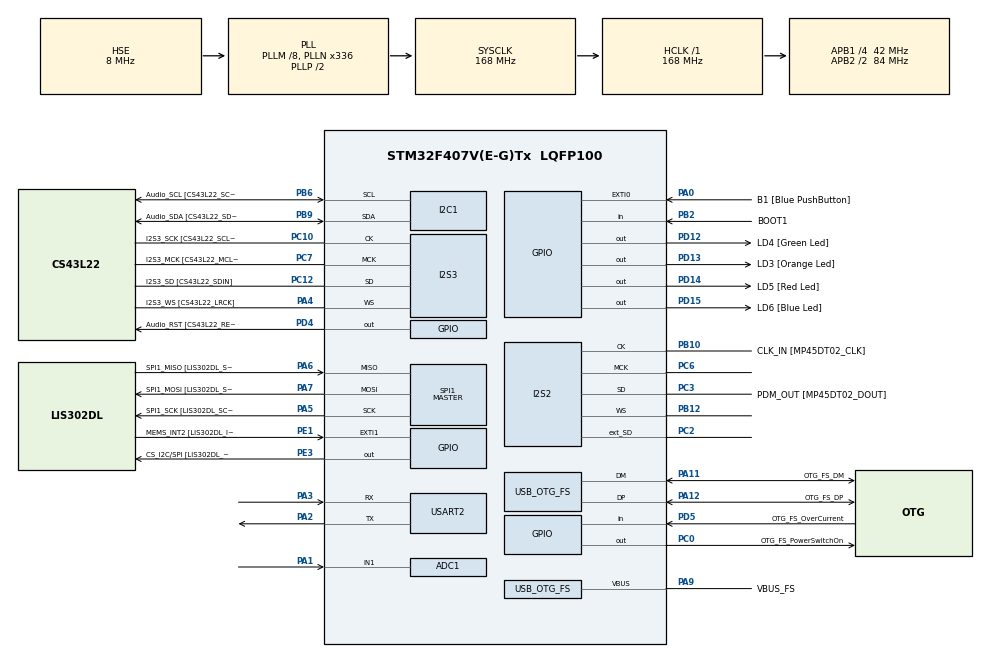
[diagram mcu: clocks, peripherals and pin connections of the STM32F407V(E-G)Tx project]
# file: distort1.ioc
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PA11.GPIO_Speed=GPIO_SPEED_FREQ_LOW
PD12.GPIO_Label=LD4 [Green Led]
PH0-OSC_IN.Signal=RCC_OSC_IN
PC10.GPIO_PuPd=GPIO_NOPULL
SPI1.VirtualType=VM_MASTER
PB10.GPIO_PuPd=GPIO_NOPULL
PB10.Mode=Full_Duplex_Master
PA10.GPIO_PuPd=GPIO_NOPULL
PC12.Signal=I2S3_SD
PA14.GPIO_Label=SWCLK
PA6.GPIO_Label=SPI1_MISO [LIS302DL_SDO]
PB6.GPIO_Label=Audio_SCL [CS43L22_SCL]
PC15-OSC32_OUT.GPIO_Label=PC15-OSC32_OUT
PC3.GPIO_Speed=GPIO_SPEED_FREQ_LOW
RCC.SYSCLKSource=RCC_SYSCLKSOURCE_PLLCLK
PA6.GPIO_Mode=GPIO_MODE_AF_PP
PD14.GPIO_Speed=GPIO_SPEED_FREQ_LOW
Dma.I2S2_EXT_RX.0.Mode=DMA_CIRCULAR
PA4.Mode=Half_Duplex_Master
SPI1.Direction=SPI_DIRECTION_2LINES
I2S3.AudioFreq-Half_Duplex_Master=I2S_AUDIOFREQ_96K
PD4.Signal=GPIO_Output
RCC.APB2TimFreq_Value=168000000
PB6.Signal=I2C1_SCL
PC7.Signal=I2S3_MCK
PB6.Mode=I2C
PC3.Signal=I2S2_SD
PE1.Signal=GPXTI1
USB_OTG_FS.phy_itface=HCD_PHY_EMBEDDED
PB2.Signal=GPIO_Input
I2S3.ErrorAudioFreq=-2.34 %
Dma.I2S2_EXT_RX.0.FIFOMode=DMA_FIFOMODE_DISABLE
PA5.GPIO_PuPd=GPIO_NOPULL
I2S3.ErrorAudioFreq-Half_Duplex_Master=0.8 %
PD5.GPIO_Mode=GPIO_MODE_INPUT
PD14.GPIO_PuPd=GPIO_NOPULL
Dma.I2S2_EXT_RX.0.PeriphDataAlignment=DMA_PDATAALIGN_HALFWORD
PB2.GPIO_PuPd=GPIO_NOPULL
ADC1.SamplingTime-0\#ChannelRegularConversion=ADC_SAMPLETIME_3CYCLES
SPI1.CalculateBaudRate-Full_Duplex_Master=42.0 MBits/s
Dma.SPI2_TX.1.FIFOMode=DMA_FIFOMODE_DISABLE
Mcu.Package=LQFP100
PB9.Signal=I2C1_SDA
Dma.I2S2_EXT_RX.0.MemDataAlignment=DMA_MDATAALIGN_HALFWORD
PD12.Signal=GPIO_Output
PA10.Signal=USB_OTG_FS_ID
PB9.GPIO_PuPd=GPIO_NOPULL
Dma.SPI2_TX.1.Instance=DMA1_Stream4
RCC.APB2CLKDivider=RCC_HCLK_DIV2
RCC.APB1TimFreq_Value=84000000
PC12.GPIO_PuPd=GPIO_NOPULL
PA6.GPIO_Speed=GPIO_SPEED_FREQ_LOW
PA12.GPIO_PuPd=GPIO_NOPULL
Dma.I2S2_EXT_RX.0.Instance=DMA1_Stream3
PA4.GPIO_Label=I2S3_WS [CS43L22_LRCK]
PD15.Signal=GPIO_Output
PC0.PinState=GPIO_PIN_SET
PA5.Mode=Full_Duplex_Master
Dma.SPI2_TX.1.MemInc=DMA_MINC_ENABLE
I2S2.AudioFreq=I2S_AUDIOFREQ_48K
I2S3.FullDuplexMode=I2S_FULLDUPLEXMODE_DISABLE
ADC1.Rank-0\#ChannelRegularConversion=1
PA9.GPIO_Label=VBUS_FS
PB6.GPIO_PuPd=GPIO_NOPULL
PC6.Signal=I2S2_MCK
PC2.Signal=I2S2_ext_SD
PA11.GPIO_Label=OTG_FS_DM
PE1.GPIO_PuPd=GPIO_NOPULL
PC0.Signal=GPIO_Output
RCC.APB1CLKDivider=RCC_HCLK_DIV4
PC14-OSC32_IN.Signal=RCC_OSC32_IN
PA0-WKUP.GPIO_ModeDefaultEXTI=GPIO_MODE_EVT_RISING
PA0-WKUP.GPIO_Label=B1 [Blue PushButton]
PA0-WKUP.Signal=GPXTI0
USB_HOST0.BSP.STBoard=false
PA3.Mode=Asynchronous
PC10.GPIO_Mode=GPIO_MODE_AF_PP
PB10.GPIO_Mode=GPIO_MODE_AF_PP
PC6.Mode=Master_Clock_Activated
PA9.Signal=USB_OTG_FS_VBUS
I2S2.VirtualMode=I2S_MODE_MASTER
I2S3.VirtualMode=I2S_MODE_MASTER
PC7.GPIO_PuPd=GPIO_NOPULL
PB10.Signal=I2S2_CK
Dma.I2S2_EXT_RX.0.Priority=DMA_PRIORITY_LOW
PA5.Signal=SPI1_SCK
PC12.Mode=Half_Duplex_Master
PE1.GPIO_Label=MEMS_INT2 [LIS302DL_INT2]
USB_HOST.VirtualModeFS=Cdc
PA7.GPIO_Speed=GPIO_SPEED_FREQ_LOW
PB2.GPIO_Mode=GPIO_MODE_INPUT
Dma.SPI2_TX.1.PeriphDataAlignment=DMA_PDATAALIGN_HALFWORD
SPI1.Mode=SPI_MODE_MASTER
Dma.SPI2_TX.1.Priority=DMA_PRIORITY_LOW
PD4.GPIO_Speed=GPIO_SPEED_FREQ_LOW
PE3.GPIO_PuPd=GPIO_NOPULL
PH1-OSC_OUT.GPIO_Label=PH1-OSC_OUT
PA13.Mode=Serial_Wire
I2S2.FullDuplexMode=I2S_FULLDUPLEXMODE_ENABLE
PC7.GPIO_Label=I2S3_MCK [CS43L22_MCLK]
PA4.Signal=I2S3_WS
PC12.GPIO_Mode=GPIO_MODE_AF_PP
ADC1.master=1
PA5.GPIO_Label=SPI1_SCK [LIS302DL_SCL/SPC]
PE3.GPIO_Speed=GPIO_SPEED_FREQ_LOW
PC12.GPIO_Label=I2S3_SD [CS43L22_SDIN]
PA11.Signal=USB_OTG_FS_DM
ProjectManager.HeapSize=0x200
NVIC.PriorityGroup=NVIC_PRIORITYGROUP_0
PE3.Signal=GPIO_Output
PC3.GPIO_Label=PDM_OUT [MP45DT02_DOUT]
PA0-WKUP.GPIO_PuPd=GPIO_NOPULL
I2S3.Instance=SPI$Index
PB6.GPIO_Speed=GPIO_SPEED_FREQ_LOW
SPI1.BaudRatePrescaler-Full_Duplex_Master=SPI_BAUDRATEPRESCALER_2
USB_HOST0.BSP.mode=Output
Dma.SPI2_TX.1.MemDataAlignment=DMA_MDATAALIGN_HALFWORD
Mcu.Family=STM32F4
PC3.Mode=Full_Duplex_Master
PC3.GPIO_Mode=GPIO_MODE_AF_PP
PA6.Mode=Full_Duplex_Master
RCC.CortexFreq_Value=168000000
PB10.GPIO_Speed=GPIO_SPEED_FREQ_LOW
PB6.GPIO_Mode=GPIO_MODE_AF_OD
PD15.GPIO_Speed=GPIO_SPEED_FREQ_LOW
PC10.Signal=I2S3_CK
PA7.GPIO_Mode=GPIO_MODE_AF_PP
Dma.SPI2_TX.1.PeriphInc=DMA_PINC_DISABLE
PC0.GPIO_Label=OTG_FS_PowerSwitchOn
PA11.Mode=Host_Only
PC10.GPIO_Speed=GPIO_SPEED_FREQ_LOW
PA11.GPIO_PuPd=GPIO_NOPULL
NVIC.DMA1_Stream4_IRQn=true\:0\:0\:false\:false\:true\:false\:true
ProjectManager.StackSize=0x400
SPI1.Mode-Full_Duplex_Master=SPI_MODE_MASTER
PD13.Signal=GPIO_Output
NVIC.ADC_IRQn=true\:0\:0\:false\:false\:true\:true\:true
PA12.Signal=USB_OTG_FS_DP
RCC.HCLKFreq_Value=168000000
Dma.I2S2_EXT_RX.0.PeriphInc=DMA_PINC_DISABLE
USB_HOST0.BSP.ip=GPIO
RCC.AHBFreq_Value=168000000
PH0-OSC_IN.Mode=HSE-External-Oscillator
PH0-OSC_IN.GPIO_Label=PH0-OSC_IN
PA9.GPIO_Mode=GPIO_MODE_INPUT
ADC1.Channel-0\#ChannelRegularConversion=ADC_CHANNEL_1
RCC.HSE_VALUE=8000000
PA4.GPIO_PuPd=GPIO_NOPULL
PA4.GPIO_Speed=GPIO_SPEED_FREQ_LOW
PA6.GPIO_PuPd=GPIO_NOPULL
PC14-OSC32_IN.Mode=LSE-External-Oscillator
PA14.Mode=Serial_Wire
PA10.GPIO_Label=OTG_FS_ID
PC7.GPIO_Mode=GPIO_MODE_AF_PP
I2S2.DataFormat=I2S_DATAFORMAT_24B
USB_HOST0.BSP.i2creg=0
PH1-OSC_OUT.Mode=HSE-External-Oscillator
USB_HOST0.BSP.i2caddr=0
PD13.GPIO_Label=LD3 [Orange Led]
PA6.Signal=SPI1_MISO
PB12.Mode=Full_Duplex_Master
Dma.SPI2_TX.1.Mode=DMA_CIRCULAR
USART2.VirtualMode=VM_ASYNC
USB_HOST.USBH_HandleTypeDef-CDC_FS=hUsbHostFS
PD5.GPIO_Label=OTG_FS_OverCurrent
NVIC.OTG_FS_IRQn=true\:0\:0\:false\:false\:true\:true\:true
PD15.GPIO_PuPd=GPIO_NOPULL
USB_OTG_FS.VirtualMode=Host_Only
PA10.GPIO_Speed=GPIO_SPEED_FREQ_LOW
USB_HOST0.BSP.name=Drive_VBUS_FS
SH.ADCx_IN1.0=ADC1_IN1,IN1
PB9.GPIO_Speed=GPIO_SPEED_FREQ_LOW
Dma.Request1=SPI2_TX
PC14-OSC32_IN.GPIO_Label=PC14-OSC32_IN
PC0.GPIO_PuPd=GPIO_NOPULL
Dma.Request0=I2S2_EXT_RX
PA12.GPIO_Speed=GPIO_SPEED_FREQ_LOW
PA3.Signal=USART2_RX
PB3.GPIO_Label=SWO
PC15-OSC32_OUT.Mode=LSE-External-Oscillator
PD12.GPIO_Speed=GPIO_SPEED_FREQ_LOW
PD15.GPIO_Label=LD6 [Blue Led]
PA7.Mode=Full_Duplex_Master
I2S2.Instance=SPI$Index
PB9.GPIO_Label=Audio_SDA [CS43L22_SDA]
PC10.GPIO_Label=I2S3_SCK [CS43L22_SCLK]
USB_HOST0.BSP.solution=PC0
PC10.Mode=Half_Duplex_Master
USB_HOST.BSP.number=1
PC2.Mode=Full_Duplex_Master
PD5.Signal=GPIO_Input
PE1.GPIO_ModeDefaultEXTI=GPIO_MODE_EVT_RISING
PA9.GPIO_PuPd=GPIO_NOPULL
PA12.GPIO_Label=OTG_FS_DP
PA10.GPIO_Mode=GPIO_MODE_AF_PP
PA13.Signal=SYS_JTMS-SWDIO
PD4.GPIO_PuPd=GPIO_NOPULL
PA9.Mode=Activate_VBUS
PC0.GPIO_Speed=GPIO_SPEED_FREQ_LOW
I2S3.RealAudioFreq-Half_Duplex_Master=96.774 KHz
ProjectManager.TargetToolchain=STM32CubeIDE
PB10.GPIO_Label=CLK_IN [MP45DT02_CLK]
PB9.Mode=I2C
PC15-OSC32_OUT.Signal=RCC_OSC32_OUT
PA1.Signal=ADCx_IN1
PA7.GPIO_PuPd=GPIO_NOPULL
Dma.I2S2_EXT_RX.0.MemInc=DMA_MINC_ENABLE
board=STM32F407G-DISC1
PD13.GPIO_Speed=GPIO_SPEED_FREQ_LOW
PC7.GPIO_Speed=GPIO_SPEED_FREQ_LOW
Dma.SPI2_TX.1.Direction=DMA_MEMORY_TO_PERIPH
RCC.VCOOutputFreq_Value=336000000
Dma.I2S2_EXT_RX.0.Direction=DMA_PERIPH_TO_MEMORY
PB9.GPIO_Mode=GPIO_MODE_AF_OD
PA12.GPIO_Mode=GPIO_MODE_AF_PP
PA4.GPIO_Mode=GPIO_MODE_AF_PP
RCC.APB2Freq_Value=84000000
USB_HOST0.BSP.api=Unknown
PD4.GPIO_Label=Audio_RST [CS43L22_RESET]
PH1-OSC_OUT.Signal=RCC_OSC_OUT
PD13.GPIO_PuPd=GPIO_NOPULL
PD5.GPIO_PuPd=GPIO_NOPULL
PD14.GPIO_Label=LD5 [Red Led]
Mcu.Name=STM32F407V(E-G)Tx
PA2.Signal=USART2_TX
PA13.GPIO_Label=SWDIO
PD14.Signal=GPIO_Output
RCC.48MHZClocksFreq_Value=48000000
PB3.Signal=SYS_JTDO-SWO
RCC.SYSCLKFreq_VALUE=168000000
PA7.GPIO_Label=SPI1_MOSI [LIS302DL_SDA/SDI/SDO]
PA12.Mode=Host_Only
I2S2.ErrorAudioFreq=-2.34 %
VP_USB_HOST_VS_USB_HOST_CDC_FS.Mode=CDC_FS
PA14.Signal=SYS_JTCK-SWCLK
PB2.GPIO_Label=BOOT1
RCC.HSI_VALUE=16000000
PA5.GPIO_Speed=GPIO_SPEED_FREQ_LOW
RCC.PLLQ=7
ADC1.NbrOfConversionFlag=1
I2S3.RealAudioFreq=93.75 KHz
RCC.PLLM=8
RCC.PLLN=336
PA2.Mode=Asynchronous
PE3.GPIO_Label=CS_I2C/SPI [LIS302DL_CS_I2C/SPI]
NVIC.DMA1_Stream3_IRQn=true\:0\:0\:false\:false\:true\:false\:true
PC7.Mode=Master_Clock_Activated
PA11.GPIO_Mode=GPIO_MODE_AF_PP
RCC.APB1Freq_Value=42000000
PA5.GPIO_Mode=GPIO_MODE_AF_PP
PC12.GPIO_Speed=GPIO_SPEED_FREQ_LOW
I2S2.RealAudioFreq=46.875 KHz
PB12.Signal=I2S2_WS
PC3.GPIO_PuPd=GPIO_NOPULL
PD12.GPIO_PuPd=GPIO_NOPULL
PA7.Signal=SPI1_MOSI
USB_HOST0.BSP.instance=PC0

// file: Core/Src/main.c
/* USER CODE BEGIN Header */
/**
  ******************************************************************************
  * @file           : main.c
  * @brief          : Main program body
  ******************************************************************************
  * @attention
  *
  * <h2><center>&copy; Copyright (c) 2021 STMicroelectronics.
  * All rights reserved.</center></h2>
  *
  * This software component is licensed by ST under Ultimate Liberty license
  * SLA0044, the "License"; You may not use this file except in compliance with
  * the License. You may obtain a copy of the License at:
  *                             www.st.com/SLA0044
  *
  ******************************************************************************
  */
/* USER CODE END Header */
#include "main.h"
#include "usb_host.h"

/* USER CODE BEGIN Includes */
#include <stdio.h>
#include <math.h>

/* USER CODE END Includes */

/* USER CODE BEGIN PD */
#define BUF_FRAMES    256
#define BUF_SAMPLES   2*BUF_FRAMES
#define BUF_HALFWORDS 2*BUF_SAMPLES
#define BUF_BYTES     2*BUF_HALFWORDS
/* USER CODE END PD */

ADC_HandleTypeDef hadc1;

I2C_HandleTypeDef hi2c1;

I2S_HandleTypeDef hi2s2;
I2S_HandleTypeDef hi2s3;
DMA_HandleTypeDef hdma_i2s2_ext_rx;
DMA_HandleTypeDef hdma_spi2_tx;

SPI_HandleTypeDef hspi1;

UART_HandleTypeDef huart2;

/* USER CODE BEGIN PV */

uint16_t rx_buf[BUF_HALFWORDS];
float    fx_buf[BUF_SAMPLES/2];
uint16_t tx_buf[BUF_HALFWORDS];

float pre_amp    = 1.0;  // 10.0 for guitar input
float distortion = 0.7;
float post_amp   = 1.0;

uint16_t adc_data = 0;

/* USER CODE END PV */

void SystemClock_Config(void);
static void MX_GPIO_Init(void);
static void MX_DMA_Init(void);
static void MX_I2C1_Init(void);
static void MX_I2S3_Init(void);
static void MX_SPI1_Init(void);
static void MX_I2S2_Init(void);
static void MX_USART2_UART_Init(void);
static void MX_ADC1_Init(void);
void MX_USB_HOST_Process(void);

/* USER CODE BEGIN 0 */

int __io_putchar(int ch) {
  HAL_UART_Transmit(&huart2, (uint8_t *)&ch, 1, 0xFFFF);
  return ch;
}

// Without syscall.c integrated, a customized _write function has to be defined:
int _write(int file, char *ptr, int len)
{
  for(int i = 0; i < len; i++){
    __io_putchar( *ptr++ );
  }
  return len;
}

// lots of "answers" & this seems like the only one that works
// via https://www.openstm32.org/forumthread5466
int _read (int file, char *ptr, int len)
{
  HAL_UART_Receive(&huart2,(uint8_t*)ptr++,1,0xffff);
  HAL_UART_Transmit(&huart2,(uint8_t *)(ptr-1),1,10);
  if (*(ptr-1) == '\r'){
    HAL_UART_Transmit(&huart2,(uint8_t *)"\n",1,10);
    *(ptr-1) = '\n';
  }
  return 1;
}
/* USER CODE END 0 */

int main(void)
{

  /* MCU Configuration--------------------------------------------------------*/

  /* Reset of all peripherals, Initializes the Flash interface and the Systick. */
  HAL_Init();

  /* Configure the system clock */
  SystemClock_Config();

  /* Initialize all configured peripherals */
  MX_GPIO_Init();
  MX_DMA_Init();
  MX_I2C1_Init();
  MX_I2S3_Init();
  MX_SPI1_Init();
  MX_USB_HOST_Init();
  MX_I2S2_Init();
  MX_USART2_UART_Init();
  MX_ADC1_Init();
  /* USER CODE BEGIN 2 */

  printf("==============================================\r\n");
  printf("distort1\r\n");

  // start ADC
  HAL_ADC_Start_IT(&hadc1);

  // start the DMA (kick off 1/2-buf tx)
  HAL_I2SEx_TransmitReceive_DMA(&hi2s2, tx_buf, rx_buf, BUF_HALFWORDS/2);

  /* USER CODE END 2 */

  /* Infinite loop */
  while (1)
  {
    MX_USB_HOST_Process();

  }
}

void SystemClock_Config(void)
{
  RCC_OscInitTypeDef RCC_OscInitStruct = {0};
  RCC_ClkInitTypeDef RCC_ClkInitStruct = {0};
  RCC_PeriphCLKInitTypeDef PeriphClkInitStruct = {0};

  /** Configure the main internal regulator output voltage
  */
  __HAL_RCC_PWR_CLK_ENABLE();
  __HAL_PWR_VOLTAGESCALING_CONFIG(PWR_REGULATOR_VOLTAGE_SCALE1);
  /** Initializes the RCC Oscillators according to the specified parameters
  * in the RCC_OscInitTypeDef structure.
  */
  RCC_OscInitStruct.OscillatorType = RCC_OSCILLATORTYPE_HSE;
  RCC_OscInitStruct.HSEState = RCC_HSE_ON;
  RCC_OscInitStruct.PLL.PLLState = RCC_PLL_ON;
  RCC_OscInitStruct.PLL.PLLSource = RCC_PLLSOURCE_HSE;
  RCC_OscInitStruct.PLL.PLLM = 8;
  RCC_OscInitStruct.PLL.PLLN = 336;
  RCC_OscInitStruct.PLL.PLLP = RCC_PLLP_DIV2;
  RCC_OscInitStruct.PLL.PLLQ = 7;
  if (HAL_RCC_OscConfig(&RCC_OscInitStruct) != HAL_OK)
  {
    Error_Handler();
  }
  /** Initializes the CPU, AHB and APB buses clocks
  */
  RCC_ClkInitStruct.ClockType = RCC_CLOCKTYPE_HCLK|RCC_CLOCKTYPE_SYSCLK
                              |RCC_CLOCKTYPE_PCLK1|RCC_CLOCKTYPE_PCLK2;
  RCC_ClkInitStruct.SYSCLKSource = RCC_SYSCLKSOURCE_PLLCLK;
  RCC_ClkInitStruct.AHBCLKDivider = RCC_SYSCLK_DIV1;
  RCC_ClkInitStruct.APB1CLKDivider = RCC_HCLK_DIV4;
  RCC_ClkInitStruct.APB2CLKDivider = RCC_HCLK_DIV2;

  if (HAL_RCC_ClockConfig(&RCC_ClkInitStruct, FLASH_LATENCY_5) != HAL_OK)
  {
    Error_Handler();
  }
  PeriphClkInitStruct.PeriphClockSelection = RCC_PERIPHCLK_I2S;
  PeriphClkInitStruct.PLLI2S.PLLI2SN = 192;
  PeriphClkInitStruct.PLLI2S.PLLI2SR = 2;
  if (HAL_RCCEx_PeriphCLKConfig(&PeriphClkInitStruct) != HAL_OK)
  {
    Error_Handler();
  }
}

static void MX_ADC1_Init(void)
{

  ADC_ChannelConfTypeDef sConfig = {0};

  /** Configure the global features of the ADC (Clock, Resolution, Data Alignment and number of conversion)
  */
  hadc1.Instance = ADC1;
  hadc1.Init.ClockPrescaler = ADC_CLOCK_SYNC_PCLK_DIV4;
  hadc1.Init.Resolution = ADC_RESOLUTION_12B;
  hadc1.Init.ScanConvMode = DISABLE;
  hadc1.Init.ContinuousConvMode = DISABLE;
  hadc1.Init.DiscontinuousConvMode = DISABLE;
  hadc1.Init.ExternalTrigConvEdge = ADC_EXTERNALTRIGCONVEDGE_NONE;
  hadc1.Init.ExternalTrigConv = ADC_SOFTWARE_START;
  hadc1.Init.DataAlign = ADC_DATAALIGN_RIGHT;
  hadc1.Init.NbrOfConversion = 1;
  hadc1.Init.DMAContinuousRequests = DISABLE;
  hadc1.Init.EOCSelection = ADC_EOC_SINGLE_CONV;
  if (HAL_ADC_Init(&hadc1) != HAL_OK)
  {
    Error_Handler();
  }
  /** Configure for the selected ADC regular channel its corresponding rank in the sequencer and its sample time.
  */
  sConfig.Channel = ADC_CHANNEL_1;
  sConfig.Rank = 1;
  sConfig.SamplingTime = ADC_SAMPLETIME_3CYCLES;
  if (HAL_ADC_ConfigChannel(&hadc1, &sConfig) != HAL_OK)
  {
    Error_Handler();
  }

}

static void MX_I2C1_Init(void)
{

  hi2c1.Instance = I2C1;
  hi2c1.Init.ClockSpeed = 100000;
  hi2c1.Init.DutyCycle = I2C_DUTYCYCLE_2;
  hi2c1.Init.OwnAddress1 = 0;
  hi2c1.Init.AddressingMode = I2C_ADDRESSINGMODE_7BIT;
  hi2c1.Init.DualAddressMode = I2C_DUALADDRESS_DISABLE;
  hi2c1.Init.OwnAddress2 = 0;
  hi2c1.Init.GeneralCallMode = I2C_GENERALCALL_DISABLE;
  hi2c1.Init.NoStretchMode = I2C_NOSTRETCH_DISABLE;
  if (HAL_I2C_Init(&hi2c1) != HAL_OK)
  {
    Error_Handler();
  }

}

static void MX_I2S2_Init(void)
{

  hi2s2.Instance = SPI2;
  hi2s2.Init.Mode = I2S_MODE_MASTER_TX;
  hi2s2.Init.Standard = I2S_STANDARD_PHILIPS;
  hi2s2.Init.DataFormat = I2S_DATAFORMAT_24B;
  hi2s2.Init.MCLKOutput = I2S_MCLKOUTPUT_ENABLE;
  hi2s2.Init.AudioFreq = I2S_AUDIOFREQ_48K;
  hi2s2.Init.CPOL = I2S_CPOL_LOW;
  hi2s2.Init.ClockSource = I2S_CLOCK_PLL;
  hi2s2.Init.FullDuplexMode = I2S_FULLDUPLEXMODE_ENABLE;
  if (HAL_I2S_Init(&hi2s2) != HAL_OK)
  {
    Error_Handler();
  }

}

static void MX_I2S3_Init(void)
{

  hi2s3.Instance = SPI3;
  hi2s3.Init.Mode = I2S_MODE_MASTER_TX;
  hi2s3.Init.Standard = I2S_STANDARD_PHILIPS;
  hi2s3.Init.DataFormat = I2S_DATAFORMAT_16B;
  hi2s3.Init.MCLKOutput = I2S_MCLKOUTPUT_ENABLE;
  hi2s3.Init.AudioFreq = I2S_AUDIOFREQ_96K;
  hi2s3.Init.CPOL = I2S_CPOL_LOW;
  hi2s3.Init.ClockSource = I2S_CLOCK_PLL;
  hi2s3.Init.FullDuplexMode = I2S_FULLDUPLEXMODE_DISABLE;
  if (HAL_I2S_Init(&hi2s3) != HAL_OK)
  {
    Error_Handler();
  }

}

static void MX_SPI1_Init(void)
{

  /* SPI1 parameter configuration*/
  hspi1.Instance = SPI1;
  hspi1.Init.Mode = SPI_MODE_MASTER;
  hspi1.Init.Direction = SPI_DIRECTION_2LINES;
  hspi1.Init.DataSize = SPI_DATASIZE_8BIT;
  hspi1.Init.CLKPolarity = SPI_POLARITY_LOW;
  hspi1.Init.CLKPhase = SPI_PHASE_1EDGE;
  hspi1.Init.NSS = SPI_NSS_SOFT;
  hspi1.Init.BaudRatePrescaler = SPI_BAUDRATEPRESCALER_2;
  hspi1.Init.FirstBit = SPI_FIRSTBIT_MSB;
  hspi1.Init.TIMode = SPI_TIMODE_DISABLE;
  hspi1.Init.CRCCalculation = SPI_CRCCALCULATION_DISABLE;
  hspi1.Init.CRCPolynomial = 10;
  if (HAL_SPI_Init(&hspi1) != HAL_OK)
  {
    Error_Handler();
  }

}

static void MX_USART2_UART_Init(void)
{

  huart2.Instance = USART2;
  huart2.Init.BaudRate = 115200;
  huart2.Init.WordLength = UART_WORDLENGTH_8B;
  huart2.Init.StopBits = UART_STOPBITS_1;
  huart2.Init.Parity = UART_PARITY_NONE;
  huart2.Init.Mode = UART_MODE_TX_RX;
  huart2.Init.HwFlowCtl = UART_HWCONTROL_NONE;
  huart2.Init.OverSampling = UART_OVERSAMPLING_16;
  if (HAL_UART_Init(&huart2) != HAL_OK)
  {
    Error_Handler();
  }

}

static void MX_DMA_Init(void)
{

  /* DMA controller clock enable */
  __HAL_RCC_DMA1_CLK_ENABLE();

  /* DMA interrupt init */
  /* DMA1_Stream3_IRQn interrupt configuration */
  HAL_NVIC_SetPriority(DMA1_Stream3_IRQn, 0, 0);
  HAL_NVIC_EnableIRQ(DMA1_Stream3_IRQn);
  /* DMA1_Stream4_IRQn interrupt configuration */
  HAL_NVIC_SetPriority(DMA1_Stream4_IRQn, 0, 0);
  HAL_NVIC_EnableIRQ(DMA1_Stream4_IRQn);

}

static void MX_GPIO_Init(void)
{
  GPIO_InitTypeDef GPIO_InitStruct = {0};

  /* GPIO Ports Clock Enable */
  __HAL_RCC_GPIOE_CLK_ENABLE();
  __HAL_RCC_GPIOC_CLK_ENABLE();
  __HAL_RCC_GPIOH_CLK_ENABLE();
  __HAL_RCC_GPIOA_CLK_ENABLE();
  __HAL_RCC_GPIOB_CLK_ENABLE();
  __HAL_RCC_GPIOD_CLK_ENABLE();

  /*Configure GPIO pin Output Level */
  HAL_GPIO_WritePin(CS_I2C_SPI_GPIO_Port, CS_I2C_SPI_Pin, GPIO_PIN_RESET);

  /*Configure GPIO pin Output Level */
  HAL_GPIO_WritePin(OTG_FS_PowerSwitchOn_GPIO_Port, OTG_FS_PowerSwitchOn_Pin, GPIO_PIN_SET);

  /*Configure GPIO pin Output Level */
  HAL_GPIO_WritePin(GPIOD, LD4_Pin|LD3_Pin|LD5_Pin|LD6_Pin
                          |Audio_RST_Pin, GPIO_PIN_RESET);

  /*Configure GPIO pin : CS_I2C_SPI_Pin */
  GPIO_InitStruct.Pin = CS_I2C_SPI_Pin;
  GPIO_InitStruct.Mode = GPIO_MODE_OUTPUT_PP;
  GPIO_InitStruct.Pull = GPIO_NOPULL;
  GPIO_InitStruct.Speed = GPIO_SPEED_FREQ_LOW;
  HAL_GPIO_Init(CS_I2C_SPI_GPIO_Port, &GPIO_InitStruct);

  /*Configure GPIO pin : OTG_FS_PowerSwitchOn_Pin */
  GPIO_InitStruct.Pin = OTG_FS_PowerSwitchOn_Pin;
  GPIO_InitStruct.Mode = GPIO_MODE_OUTPUT_PP;
  GPIO_InitStruct.Pull = GPIO_NOPULL;
  GPIO_InitStruct.Speed = GPIO_SPEED_FREQ_LOW;
  HAL_GPIO_Init(OTG_FS_PowerSwitchOn_GPIO_Port, &GPIO_InitStruct);

  /*Configure GPIO pin : B1_Pin */
  GPIO_InitStruct.Pin = B1_Pin;
  GPIO_InitStruct.Mode = GPIO_MODE_EVT_RISING;
  GPIO_InitStruct.Pull = GPIO_NOPULL;
  HAL_GPIO_Init(B1_GPIO_Port, &GPIO_InitStruct);

  /*Configure GPIO pin : BOOT1_Pin */
  GPIO_InitStruct.Pin = BOOT1_Pin;
  GPIO_InitStruct.Mode = GPIO_MODE_INPUT;
  GPIO_InitStruct.Pull = GPIO_NOPULL;
  HAL_GPIO_Init(BOOT1_GPIO_Port, &GPIO_InitStruct);

  /*Configure GPIO pins : LD4_Pin LD3_Pin LD5_Pin LD6_Pin
                           Audio_RST_Pin */
  GPIO_InitStruct.Pin = LD4_Pin|LD3_Pin|LD5_Pin|LD6_Pin
                          |Audio_RST_Pin;
  GPIO_InitStruct.Mode = GPIO_MODE_OUTPUT_PP;
  GPIO_InitStruct.Pull = GPIO_NOPULL;
  GPIO_InitStruct.Speed = GPIO_SPEED_FREQ_LOW;
  HAL_GPIO_Init(GPIOD, &GPIO_InitStruct);

  /*Configure GPIO pin : OTG_FS_OverCurrent_Pin */
  GPIO_InitStruct.Pin = OTG_FS_OverCurrent_Pin;
  GPIO_InitStruct.Mode = GPIO_MODE_INPUT;
  GPIO_InitStruct.Pull = GPIO_NOPULL;
  HAL_GPIO_Init(OTG_FS_OverCurrent_GPIO_Port, &GPIO_InitStruct);

  /*Configure GPIO pin : MEMS_INT2_Pin */
  GPIO_InitStruct.Pin = MEMS_INT2_Pin;
  GPIO_InitStruct.Mode = GPIO_MODE_EVT_RISING;
  GPIO_InitStruct.Pull = GPIO_NOPULL;
  HAL_GPIO_Init(MEMS_INT2_GPIO_Port, &GPIO_InitStruct);

}

/* USER CODE BEGIN 4 */

static inline float process_sample(float x)
{
  float k = 2*distortion/(1-distortion);
  x *= pre_amp;
  float absx = (x < 0) ? -x : x; // fabsf() was b0rked
  x = (1+k)*x / (1 + k*absx);
  x *= post_amp;
  return x;
}

void process_fx()
{
  for(int i = 0; i < BUF_FRAMES/2; i++) {
    fx_buf[2*i]   = process_sample(fx_buf[2*i]);
    fx_buf[2*i+1] = process_sample(fx_buf[2*i+1]);
  }
}

static inline float normalize_int24(int i)
{
  float f = (float)i*(1.0f/0x80000000);
#if 0
  static float min_val = 0;
  static float max_val = 0;
  if(f < min_val) {
    min_val = f;
    printf(" in min: %f max: %f\r\n",min_val, max_val);
  }
  else if(f > max_val) {
    max_val = f;
    printf(" in min: %f max: %f\r\n",min_val, max_val);
  }
#endif
  return f;
}

static inline int denormalize_int24(float f)
{
#if 0
  static float min_val = 0;
  static float max_val = 0;
  if(f < min_val) {
    min_val = f;
    printf("                        out min: %f max: %f\r\n",min_val, max_val);
  }
  else if(f > max_val) {
    max_val = f;
    printf("                        out min: %f max: %f\r\n",min_val, max_val);
  }
#endif

  f = fmaxf(fminf(f,1.0),-1.0);
  return (int)(f*0x80000000);
}

void HAL_I2SEx_TxRxHalfCpltCallback(I2S_HandleTypeDef *hi2s)
{
  HAL_GPIO_WritePin(LED_Port, ORANGE_LED, GPIO_PIN_SET);
  int i = 0;
  for(int f = 0; f < BUF_FRAMES/2; f++, i++) {
    fx_buf[2*i]   = normalize_int24((int)(rx_buf[4*f+0]<<16)|rx_buf[4*f+1]);
    fx_buf[2*i+1] = normalize_int24((int)(rx_buf[4*f+2]<<16)|rx_buf[4*f+3]);
  }

  process_fx();

  i = 0;
  for(int f = 0; f < BUF_FRAMES/2; f++, i++) {
    int sample_l = denormalize_int24(fx_buf[2*i]);
    int sample_r = denormalize_int24(fx_buf[2*i+1]);
    tx_buf[4*f+0] = (sample_l>>16) & 0xffff;
    tx_buf[4*f+1] = sample_l & 0xffff;
    tx_buf[4*f+2] = (sample_r>>16) & 0xffff;
    tx_buf[4*f+3] = sample_r & 0xffff;
  }
  HAL_GPIO_WritePin(LED_Port, ORANGE_LED, GPIO_PIN_RESET);
}

void HAL_I2SEx_TxRxCpltCallback(I2S_HandleTypeDef *hi2s)
{
  HAL_GPIO_WritePin(LED_Port, ORANGE_LED, GPIO_PIN_SET);
  int i = 0;
  for(int f = BUF_FRAMES/2; f < BUF_FRAMES; f++, i++) {
    fx_buf[2*i]   = normalize_int24((int)(rx_buf[4*f+0]<<16)|rx_buf[4*f+1]);
    fx_buf[2*i+1] = normalize_int24((int)(rx_buf[4*f+2]<<16)|rx_buf[4*f+3]);
  }

  process_fx();

  i = 0;
  for(int f = BUF_FRAMES/2; f < BUF_FRAMES; f++, i++) {
    int sample_l = denormalize_int24(fx_buf[2*i]);
    int sample_r = denormalize_int24(fx_buf[2*i+1]);
    tx_buf[4*f+0] = (sample_l>>16) & 0xffff;
    tx_buf[4*f+1] = sample_l & 0xffff;
    tx_buf[4*f+2] = (sample_r>>16) & 0xffff;
    tx_buf[4*f+3] = sample_r & 0xffff;
  }
  HAL_GPIO_WritePin(LED_Port, ORANGE_LED, GPIO_PIN_RESET);
}

void HAL_ADC_ConvCpltCallback(ADC_HandleTypeDef *hadc)
{
#if 0
  // SUPER noisy input
  static uint16_t adc_vals[] = { 0,0,0,0,0,0,0,0,0,0 };
  static int i = 0;
  adc_data = HAL_ADC_GetValue(hadc);
  adc_vals[i++] = adc_data;
  if(i > sizeof(adc_vals)) { i = 0; }
  int avg_val = 0;
  for(int j = 0; j < sizeof(adc_vals); j++) { avg_val += adc_vals[j]; }
  avg_val /= sizeof(adc_vals);
  float new_distortion = avg_val * (1.0f/4095);
  if(distortion != new_distortion) {
    distortion = new_distortion;
    printf("adc_data = %d distortion = %f\r\n", adc_data, distortion);
  }
#else
  adc_data = HAL_ADC_GetValue(hadc);
  distortion = adc_data * (1.0f/4095);
#endif
  HAL_ADC_Start_IT(hadc);
}

/* USER CODE END 4 */

void Error_Handler(void)
{
  __disable_irq();
  while (1)
  {
  }
}

/************************ (C) COPYRIGHT STMicroelectronics *****END OF FILE****/
